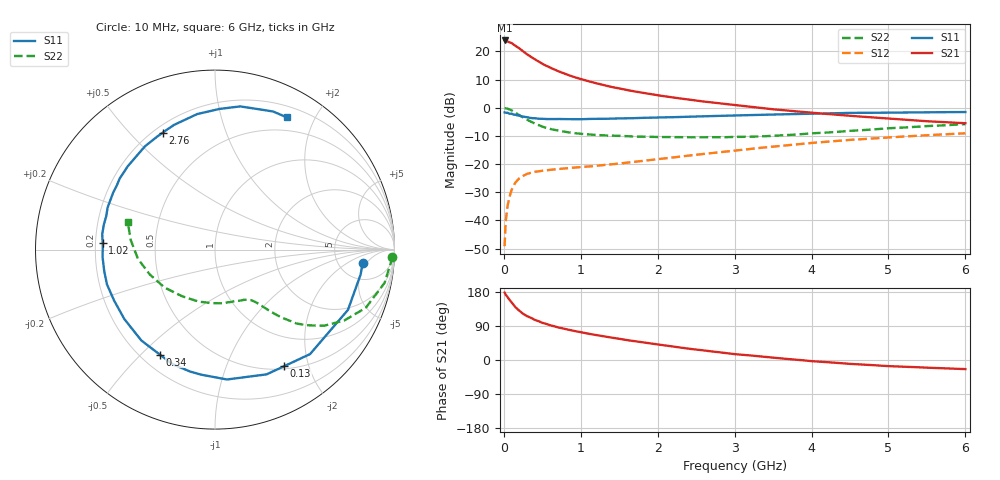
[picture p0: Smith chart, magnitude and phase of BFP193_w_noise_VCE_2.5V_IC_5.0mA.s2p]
! Infineon Technologies  Discrete & RF Semiconductors
! BFP193
! VCE = 2.5 V,  IC =  5.0 mA
! Common Emitter S-Parameters:  Jan 2016
# GHz  S  MA  R  50
!  f  S11  S21  S12  S22
! GHz  MAG  ANG  MAG  ANG  MAG  ANG  MAG  ANG
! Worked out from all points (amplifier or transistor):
!   210 points, 10 MHz to 6 GHz, reference 50 ohm
!   highest |S21| = 23.9 dB at 10 MHz (marker M1)
!   |S21| within 3 dB of that: start of sweep to 210.7 MHz
!   unconditionally stable (mu >= 1): 1.257 GHz to 3.55 GHz
!   at 185 MHz: K = 0.21, MSG = 23.4 dB, |S12| = -25.5 dB
!   at 1.52 GHz: K = 1.08, MAG = 11.5 dB, |S12| = -19.8 dB
!   at 6 GHz: K = 0.91, MSG = 1.8 dB, |S12| = -9.1 dB
!   lowest NFmin = 1.20 dB at 450 MHz
!   S11 on the Smith chart (normalised r, x): 10 MHz: 8.51, -4.09; 130 MHz: 0.54, -1.62; 340 MHz: 0.27, -0.57; 1.02 GHz: 0.23, +0.03; 2.76 GHz: 0.23, +0.62; 6 GHz: 0.33, +1.63
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0.01  0.8261 -5.3  15.61 177.9  0.0035 91.1  0.9873 -2.3
0.02  0.8232 -9.7  15.22 173.6  0.0076 83.6  0.9815 -4.5
0.05  0.8133 -24.4  14.98 165.1  0.0186 76.5  0.9629 -11.1
0.1  0.7871 -47.7  14.06 151.8  0.0345 66.6  0.9006 -21.1
0.13  0.7552 -59.4  13.09 144.7  0.0418 60.3  0.8509 -25.5
0.15  0.7523 -67.5  12.56 139.4  0.0469 57.2  0.8209 -28.8
0.2  0.7268 -84.7  11.36 130.1  0.0558 50.5  0.7421 -34.8
0.26  0.6935 -101.5  9.784 120.8  0.0627 44.4  0.6577 -39.8
0.3  0.6807 -110.5  8.9 115.8  0.067 41.6  0.6134 -42.2
0.34  0.6608 -117.7  8.219 112.4  0.0693 39.5  0.5766 -43.5
0.4  0.6517 -129.0  7.264 106.1  0.0728 36.6  0.5221 -45.9
0.5  0.6364 -142.5  6.004 98.2  0.0762 33.7  0.461 -48.2
0.6  0.6297 -153.3  5.148 91.9  0.0791 32.5  0.4205 -49.7
0.8  0.6287 -169.0  3.963 81.6  0.0844 31.7  0.3728 -52.1
1.02  0.6267 176.7  3.17 72.5  0.0887 32.9  0.3429 -55.0
1.4  0.6426 158.6  2.337 59.1  0.0988 36.2  0.3207 -61.8
2.02  0.6725 135.9  1.65 40.5  0.1231 40.4  0.302 -76.4
2.76  0.7139 114.1  1.214 21.4  0.1605 41.0  0.2984 -99.1
3.1  0.7352 106.0  1.077 13.8  0.1802 39.6  0.304 -110.8
4.1  0.788 86.5  0.795 -4.3  0.2433 32.4  0.3565 -146.4
5.1  0.8208 72.1  0.63 -16.9  0.3029 21.7  0.4385 -176.0
6  0.8387 61.5  0.531 -24.0  0.352 11.0  0.5114 162.2
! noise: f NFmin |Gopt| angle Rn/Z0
0.45  1.2  0.26  102  0.14
0.9  1.25  0.38  145  0.12
1.8  2.05  0.56  -161  0.12
